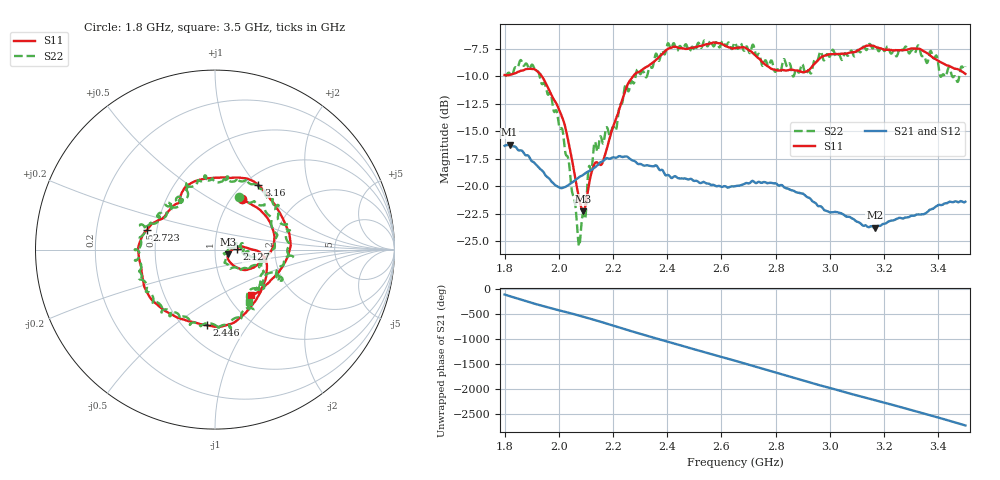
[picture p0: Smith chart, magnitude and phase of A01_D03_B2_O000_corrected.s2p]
! Created with skrf 1.9.0 (http://scikit-rf.org).
# Hz S RI R 50.0
!freq ReS11 ImS11 ReS21 ImS21 ReS12 ImS12 ReS22 ImS22
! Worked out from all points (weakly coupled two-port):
!   1601 points, 1.8 GHz to 3.5 GHz, reference 50 ohm
!   highest |S21| = -16.23 dB at 1.818 GHz (marker M1); lowest = -23.8 dB at 3.165 GHz (marker M2)
!   lowest |S11| = -22.3 dB at 2.09 GHz (marker M3), VSWR 1.17, Z = 57.7 - j3 ohm
!   |S11| at or under -10 dB: 1.938 GHz to 2.274 GHz (336.9 MHz wide, 16 % of centre)
!   |S22| runs from -25.5 to -6.7 dB; largest |S21 - S12| = 0.0027
!   S11 on the Smith chart (normalised r, x): 1.8 GHz: 1.12, +0.71; 2.127 GHz: 1.28, +0.01; 2.446 GHz: 0.65, -0.67; 2.723 GHz: 0.44, +0.12; 3.16 GHz: 1.15, +1.02; 3.5 GHz: 1.27, -0.72
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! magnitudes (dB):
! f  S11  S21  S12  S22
! 1.8 GHz  -9.9  -16.3  -16.3  -9.8
! 1.818 GHz  -9.9  -16.2  -16.2  -9.7
! 1.903 GHz  -9.3  -17.8  -17.8  -9.0
! 1.968 GHz  -11.4  -19.4  -19.5  -11.5
! 2.034 GHz  -15.8  -19.9  -19.9  -17.4
! 2.072 GHz  -20.8  -19.2  -19.3  -25.1
! 2.084 GHz  -22.0  -19.1  -19.0  -23.3
! 2.09 GHz  -22.3  -19.0  -19.0  -22.5
! 2.127 GHz  -18.2  -18.4  -18.4  -16.9
! 2.163 GHz  -17.7  -17.7  -17.7  -16.1
! 2.26 GHz  -10.5  -17.5  -17.5  -11.2
! 2.367 GHz  -8.3  -18.4  -18.3  -8.5
! 2.446 GHz  -7.4  -19.3  -19.3  -7.3
! 2.65 GHz  -7.5  -20.0  -20.0  -6.9
! 2.723 GHz  -8.1  -19.7  -19.6  -7.7
! 2.934 GHz  -9.1  -21.3  -21.3  -9.5
! 3.16 GHz  -7.2  -23.8  -23.7  -7.4
! 3.165 GHz  -7.3  -23.8  -23.8  -7.2
! 3.217 GHz  -7.6  -23.2  -23.2  -7.5
! 3.326 GHz  -7.5  -22.6  -22.5  -7.2
! 3.468 GHz  -9.3  -21.4  -21.4  -10.4
! 3.5 GHz  -9.8  -21.4  -21.4  -9.1
